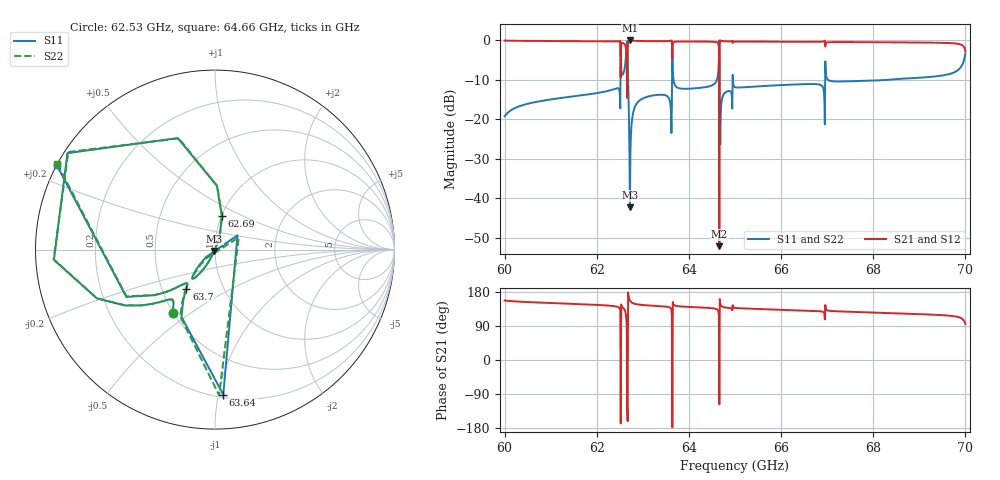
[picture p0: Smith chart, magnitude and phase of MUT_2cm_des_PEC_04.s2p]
! TOUCHSTONE file generated by CST MICROWAVE STUDIO
! Date and time: Wed Feb 28 00:05:20 2024
! Project name: material_desal.cst
! Header version: 2018
! Port assignment regex: !\s*Touchstone port\s*([0-9]+)\s*=\s*(CST MWS port|CST DS port)\s*([0-9]+|Zmin|Zmax)\s*\(\"(.*)\"\)(\s*mode\s*([0-9]+))?.*
! Touchstone port assignment:
! Touchstone port 1 = CST MWS port 1 ("")
! Touchstone port 2 = CST MWS port 2 ("")
# GHz S MA R 376.7
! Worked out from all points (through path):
!   1001 points, 60 GHz to 70 GHz, reference 376.7 ohm
!   highest |S21| = 0.00 dB at 62.72 GHz (marker M1); lowest = -52.1 dB at 64.66 GHz (marker M2)
!   lowest |S11| = -42.3 dB at 62.72 GHz (marker M3), VSWR 1.02, Z = 374 - j5.22 ohm
!   |S11| at or under -10 dB: start of sweep to 62.51 GHz; 64.96 GHz to 66.96 GHz (2.001 GHz wide, 3.03 % of centre); 67.02 GHz to 68.28 GHz (1.257 GHz wide, 1.86 % of centre)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
!   |S22| runs from -41.8 to 0.0 dB; largest |S21 - S12| = 0.0062
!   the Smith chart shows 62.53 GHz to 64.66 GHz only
!   S11 on the Smith chart (normalised r, x): 62.53 GHz: 0.50, -0.43; 62.69 GHz: 1.00, +0.39; 63.64 GHz: 0.22, -1.03; 63.7 GHz: 0.67, -0.31; 64.66 GHz: -0.00, +0.25
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60  0.1093 -113.1  0.994 156.9  0.994 156.9  0.1093 -113.1
61.67  0.2022 -122.8  0.9793 147.2  0.9793 147.2  0.2022 -122.8
62.53  0.4257 -123.7  0.905 146.3  0.905 146.3  0.4257 -123.7
62.6  0.4285 -136.7  0.9035 133.2  0.9036 133.2  0.4284 -136.8
62.63  0.5894 -148.1  0.8079 121.9  0.8076 121.8  0.5895 -148.2
62.69  0.1903 78.4  0.9816 168.2  0.9824 168.2  0.1889 78.0
62.72  0.007708 -115.1  0.9998 156.6  1 156.6  0.008133 -111.7
62.76  0.09239 -118.6  0.9958 151.5  0.9962 151.5  0.09254 -118.4
62.91  0.17 -123.7  0.9854 146.3  0.9854 146.3  0.1701 -123.7
63.34  0.2048 -127.7  0.9788 142.3  0.9788 142.3  0.2048 -127.6
63.64  0.8093 -86.7  0.5862 -177.7  0.5855 -177.5  0.8115 -88.4
63.7  0.2694 -126.3  0.963 143.5  0.963 143.5  0.2695 -126.6
64.59  0.3003 -135.4  0.954 134.6  0.9542 134.6  0.3004 -135.3
64.61  0.3211 -136.7  0.9472 133.3  0.9474 133.3  0.3212 -136.7
64.66  1 151.9  0.002478 -117.0  0.002515 -116.9  1 151.5
64.71  0.1709 -128.3  0.9854 141.8  0.9855 141.8  0.1709 -128.0
64.72  0.1842 -129.1  0.983 141.0  0.9831 141.0  0.1843 -128.8
65  0.2558 -132.5  0.9667 137.5  0.9667 137.5  0.2558 -132.4
66.67  0.2806 -140.2  0.9597 129.8  0.9598 129.8  0.2807 -140.1
68.34  0.3187 -147.1  0.9476 123.9  0.9475 123.9  0.3203 -146.1
69.71  0.3844 -154.0  0.9231 116.2  0.9231 116.2  0.3846 -153.7
70  0.6837 -175.4  0.7296 94.8  0.7297 94.8  0.6839 -175.0
